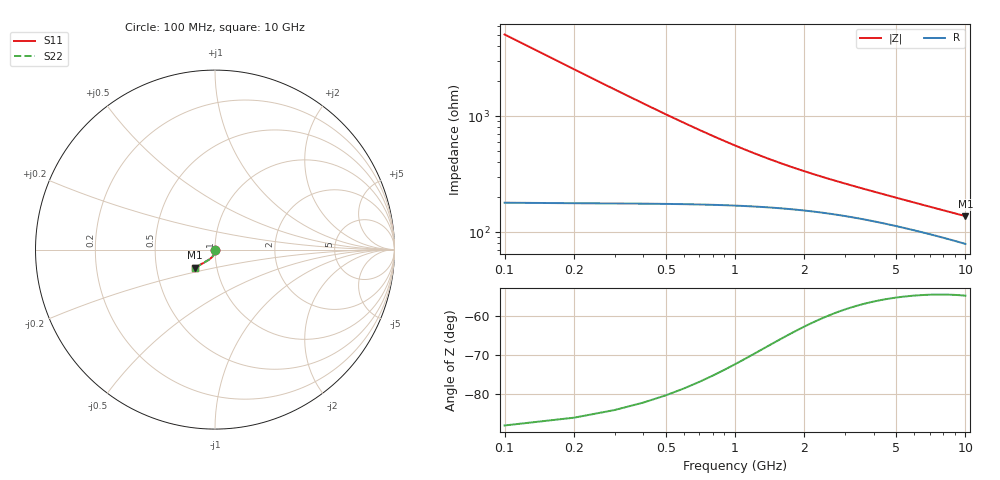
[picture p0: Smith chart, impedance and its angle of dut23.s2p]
! Touchstone file exported from HFSS 2024.1.0
!  File:  C:/UserFiles/LocalFiles/RDL_TSV_Batchsim/temp_TSV1_23_1778747228.aedt
!  Generated:  04:30:35 PM May 14, 2026
!  Design:  TSV1
!  Project:  temp_TSV1_23_1778747228
!  Setup:  Setup1
!  Solution:  Sweep
! Variables:
!  dtsv = 27.03um
!  hbump = 3um
!  htsv = 96.83um
!  lrdl = 252.1521522um
!  p = 40
!  p1 = 58.59um
!  t = 500um
!  trdl = 3um
!  wrdl = 24.89489489um
# GHz S MA R 50.000000
! Terminal data exported
! Port[1] = TSV22_T1
! Port[2] = TSV22_T2
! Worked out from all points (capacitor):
!   100 points, 100 MHz to 10 GHz, reference 50 ohm
!   read as one part in shunt: C = 315 fF near 100 MHz
!   lowest |Z| = 137 ohm at 10 GHz (marker M1)
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0.1  0.00466 -91.3  0.9997 -0.3  0.9997 -0.3  0.00466 -91.3
! Gamma 0 0 0 0
! Port Impedance 50 0 50 0
0.2  0.009285 -94.1  0.9991 -0.6  0.9991 -0.6  0.009285 -94.1
0.3  0.01384 -96.5  0.9982 -0.9  0.9982 -0.9  0.01384 -96.5
0.4  0.0183 -98.7  0.9969 -1.2  0.9969 -1.2  0.0183 -98.7
0.5  0.02263 -100.9  0.9954 -1.4  0.9954 -1.4  0.02263 -100.9
0.6  0.02682 -103.0  0.9936 -1.7  0.9936 -1.7  0.02682 -103.0
0.7  0.03084 -105.0  0.9917 -1.9  0.9917 -1.9  0.03084 -105.0
0.8  0.03469 -106.9  0.9896 -2.1  0.9896 -2.1  0.03469 -106.9
0.9  0.03837 -108.7  0.9874 -2.3  0.9874 -2.3  0.03837 -108.7
1.1  0.04517 -112.0  0.983 -2.7  0.983 -2.7  0.04517 -112.0
1.4  0.05411 -116.1  0.9764 -3.2  0.9764 -3.2  0.05411 -116.1
1.6  0.05932 -118.5  0.9722 -3.5  0.9722 -3.5  0.05932 -118.5
1.8  0.06402 -120.5  0.9683 -3.7  0.9683 -3.7  0.06402 -120.5
2.1  0.07029 -123.0  0.9628 -4.0  0.9628 -4.0  0.07029 -123.0
2.5  0.07754 -125.6  0.9563 -4.4  0.9563 -4.4  0.07754 -125.6
2.9  0.08387 -127.6  0.9506 -4.7  0.9506 -4.7  0.08387 -127.6
3.4  0.09089 -129.5  0.9443 -5.1  0.9443 -5.1  0.09089 -129.5
4.2  0.1007 -131.6  0.9358 -5.6  0.9358 -5.6  0.1007 -131.6
5.1  0.1104 -133.2  0.9277 -6.2  0.9277 -6.2  0.1104 -133.2
6.7  0.1251 -135.2  0.9158 -7.1  0.9158 -7.1  0.1251 -135.2
8.4  0.1383 -136.5  0.9056 -8.0  0.9056 -8.0  0.1383 -136.5
10  0.1493 -137.4  0.8976 -8.9  0.8976 -8.9  0.1493 -137.4
